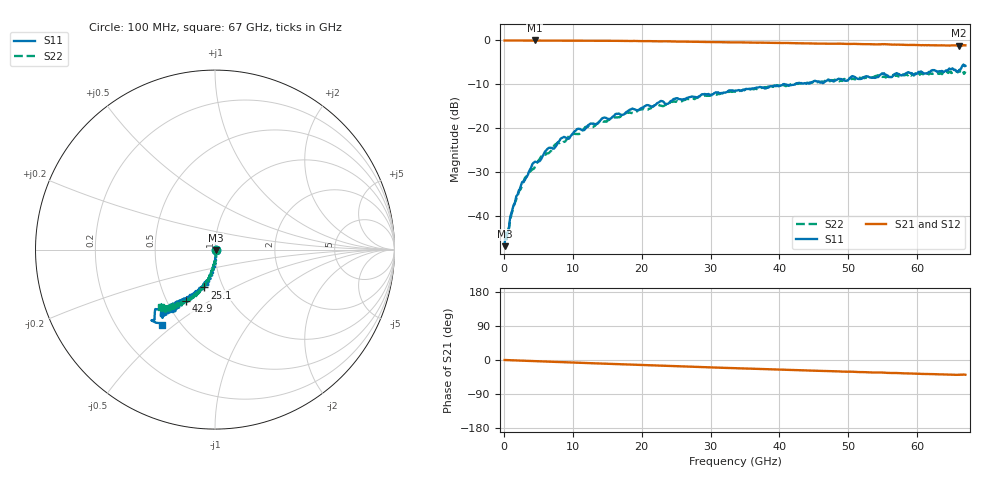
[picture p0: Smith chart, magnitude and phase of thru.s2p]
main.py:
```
import deemb as de
import skrf as rf
import os
import sys
from pathlib import Path

'''
This script applies de-embedding to all files in the "raw" directory at once.
The supported methods are as follows.
- open
- short
- open_short
- short_open
- spliti
- splitpi
- splitt
- icsy
- icsz
- icsyz
- icszy
'''

method = 'open'

# Import raw files
raw_files = os.listdir('./raw')

# Import dummies
if method in {'open'}:
    dummy = (rf.Network('dummy/open.s2p'), )
elif method in {'short'}:
    dummy = (rf.Network('dummy/short.s2p'), )
elif method in {'open_short'}:
    dummy = (rf.Network('dummy/open.s2p'), rf.Network('dummy/short.s2p'))
elif method in {'short_open'}:
    dummy = (rf.Network('dummy/short.s2p'), rf.Network('dummy/open.s2p'))
elif method in {'spliti', 'splitpi', 'splitt', 'icsy', 'icsz', 'icsyz', 'icszy'}:
    dummy = (rf.Network('dummy/thru.s2p'), )
else:
    print('ERROR: No such a de-embedding method.')
    sys.exit()

# Run de-embedding
for raw_file in raw_files:
    raw = rf.Network('./raw/' + raw_file)
    dut = eval('de.' + method)(raw, dummy)
    dut.frequency.unit = 'Hz'
    dut.write_touchstone(filename=(Path(raw_file).stem+'_'+method), dir='./output', form='ri')
    print("'" + (Path(raw_file).stem) + '_' + method + ".s2p';")
```
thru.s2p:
!  2-Port S-parameters saved by WinCal
! VAR MeasName=S-Parameters (CALIBRATED_DATA) read from VNA (N5247A)
! VAR MeasDate=2020/12/15 16:20:02
! VAR NAME=PAD_THRU
! VAR FILENAME=PAD_THRU.S2P
! VAR DATE=2020/12/15 16:20:02
! VAR PHYS_PORTS=1,2
! VAR ObjTypeName=DATASET
! VAR IndexType=Frequency
# Hz S MA R 50
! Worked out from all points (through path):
!   670 points, 100 MHz to 67 GHz, reference 50 ohm
!   highest |S21| = 0.00 dB at 4.5 GHz (marker M1); lowest = -1.2 dB at 66.1 GHz (marker M2)
!   group delay of S21, straight-line fit = 1.64 ps
!   lowest |S11| = -47.0 dB at 100 MHz (marker M3), VSWR 1.01, Z = 50.4 - j0.159 ohm
!   |S11| at or under -10 dB: start of sweep to 40.55 GHz; 40.79 GHz to 42.34 GHz (1.543 GHz wide, 3.71 % of centre)
!   |S22| runs from -44.7 to -6.8 dB; largest |S21 - S12| = 0.0033
!   S11 on the Smith chart (normalised r, x): 100 MHz: 1.01, -0.00; 25.1 GHz: 0.82, -0.36; 42.9 GHz: 0.62, -0.40; 67 GHz: 0.40, -0.45
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1e8  0.004476 -20.7  0.9978 0.0  0.9981 0.0  0.00653 4.0
5e8  0.006156 -34.4  0.9985 -0.3  0.9989 -0.3  0.007051 -35.7
2e9  0.01741 -69.7  0.9987 -1.3  0.999 -1.3  0.01688 -68.8
4.5e9  0.04119 -79.7  0.9995 -3.0  1 -3.0  0.03618 -82.6
7.6e9  0.06275 -92.5  0.9979 -5.0  0.9984 -5.0  0.06595 -89.7
1.2e10  0.1017 -97.3  0.9938 -8.0  0.9942 -8.0  0.1027 -94.7
2.51e10  0.219 -105.9  0.9707 -16.5  0.9715 -16.5  0.2015 -107.5
3.36e10  0.2682 -113.6  0.95 -21.6  0.9512 -21.6  0.2593 -112.6
4.29e10  0.3279 -120.1  0.9282 -27.0  0.929 -27.0  0.3226 -118.3
6.61e10  0.4587 -133.3  0.8694 -39.3  0.8713 -39.2  0.4582 -130.9
6.7e10  0.5126 -125.4  0.8791 -38.9  0.8802 -38.9  0.4419 -133.2
